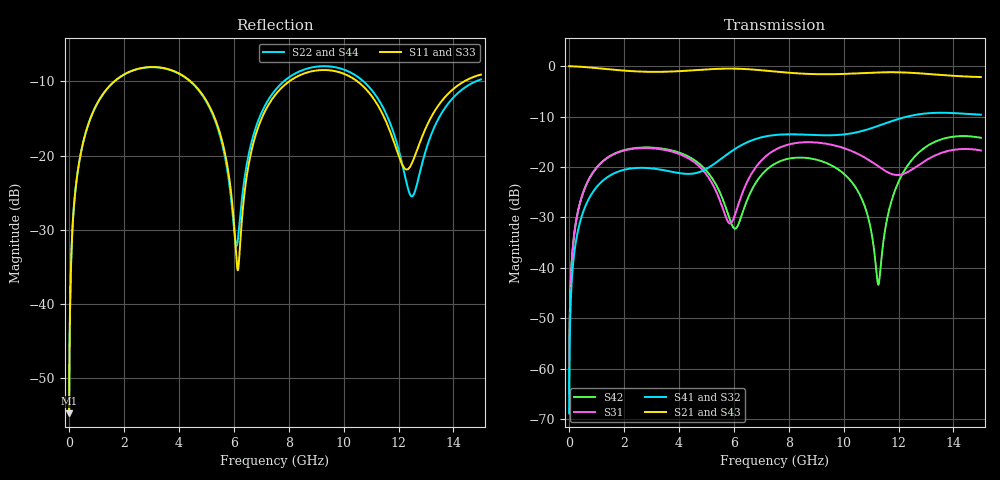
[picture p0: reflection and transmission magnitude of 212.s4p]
! Created with skrf 1.8.0 (http://scikit-rf.org).
# GHz S RI R 50.0
!freq ReS11 ImS11 ReS12 ImS12 ReS13 ImS13
! ReS14 ImS14
! ReS21 ImS21 ReS22 ImS22 ReS23 ImS23
! ReS24 ImS24
! ReS31 ImS31 ReS32 ImS32 ReS33 ImS33
! ReS34 ImS34
! ReS41 ImS41 ReS42 ImS42 ReS43 ImS43
! ReS44 ImS44
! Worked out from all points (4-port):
!   2499 points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, 5 MHz to 15 GHz, reference 50 ohm
!   strongest paths, dB at 5 MHz, 3.476 GHz, 7.19 GHz, 11.1 GHz, 15 GHz:
!     S21: 0.0, -1.1, -0.9, -1.3, -2.2
!     S43: 0.0, -1.1, -0.9, -1.3, -2.2
!     S41: -68.8, -20.7, -13.9, -12.2, -9.6
!     S32: -68.8, -20.7, -13.9, -12.2, -9.7
!     S31: -65.0, -16.6, -17.8, -19.3, -16.7
!     S42: -65.0, -16.4, -20.6, -35.9, -14.2
!   lowest |S11| = -54.7 dB at 5 MHz (marker M1), VSWR 1.00, Z = 50.1 + j0.112 ohm
!   |S11| at or under -10 dB: start of sweep to 1.656 GHz; 4.426 GHz to 8.024 GHz (3.598 GHz wide, 57.8 % of centre); 10.5 GHz to 14.4 GHz (3.898 GHz wide, 31.3 % of centre)
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0.005  0.00146 0.00112  0.9985 -0.00285  7.23e-05 0.00056  -7.04e-05 -0.000354
       0.9985 -0.00285  0.00146 0.00112  -7.04e-05 -0.000354  7.23e-05 0.00056
       7.23e-05 0.00056  -7.04e-05 -0.000354  0.00146 0.00112  0.9985 -0.00285
       -7.04e-05 -0.000354  7.23e-05 0.00056  0.9985 -0.00285  0.00146 0.00112
0.3626511  0.0248 0.0846  0.9659 -0.2051  0.0112 0.0385  -0.00942 -0.024
           0.9659 -0.2051  0.0248 0.0846  -0.00941 -0.024  0.0114 0.0384
           0.0112 0.0385  -0.00941 -0.024  0.0249 0.0846  0.9659 -0.2051
           -0.00942 -0.024  0.0114 0.0384  0.9659 -0.2051  0.0248 0.0846
1.619545  0.2496 0.1871  0.5946 -0.7028  0.1154 0.0667  -0.0848 -0.0133
          0.5946 -0.7028  0.2489 0.1874  -0.0847 -0.0134  0.1181 0.0633
          0.1154 0.0667  -0.0847 -0.0134  0.2497 0.187  0.5946 -0.7028
          -0.0848 -0.0133  0.1181 0.0633  0.5946 -0.7028  0.2489 0.1874
6.152564  0.0169 0.000955  -0.9405 -0.0533  0.0363 0.0195  -0.00254 0.1572
          -0.9405 -0.0533  0.025 0.011  -0.00598 0.1571  -0.0214 0.0154
          0.0363 0.0195  -0.00598 0.1571  0.0152 -0.000273  -0.9405 -0.0535
          -0.00254 0.1572  -0.0214 0.0154  -0.9405 -0.0535  0.0271 0.00989
9.516465  0.3742 -0.0149  0.0126 0.8307  0.0987 -0.1348  0.199 -0.054
          0.0126 0.8307  0.3956 -0.042  0.1993 -0.0473  0.0949 -0.0452
          0.0987 -0.1348  0.1993 -0.0473  0.3736 -0.015  0.0134 0.8312
          0.199 -0.054  0.0949 -0.0452  0.0134 0.8312  0.3936 -0.0432
11.26719  0.1681 -0.1339  0.6599 0.5599  -0.0729 -0.0703  0.157 -0.2019
          0.6599 0.5599  0.1626 -0.1751  0.1649 -0.1955  -0.00658 -0.00172
          -0.0729 -0.0703  0.1649 -0.1955  0.1649 -0.1343  0.6612 0.5589
          0.157 -0.2019  -0.00658 -0.00172  0.6612 0.5589  0.1623 -0.1736
15  0.3448 0.0646  0.3 -0.7186  0.1339 -0.0577  -0.323 -0.0664
    0.3 -0.7186  0.3154 0.0805  -0.3178 -0.0816  0.1649 -0.1035
    0.1339 -0.0577  -0.3178 -0.0816  0.3466 0.0671  0.2976 -0.7193
    -0.323 -0.0664  0.1649 -0.1035  0.2976 -0.7193  0.3148 0.0776
